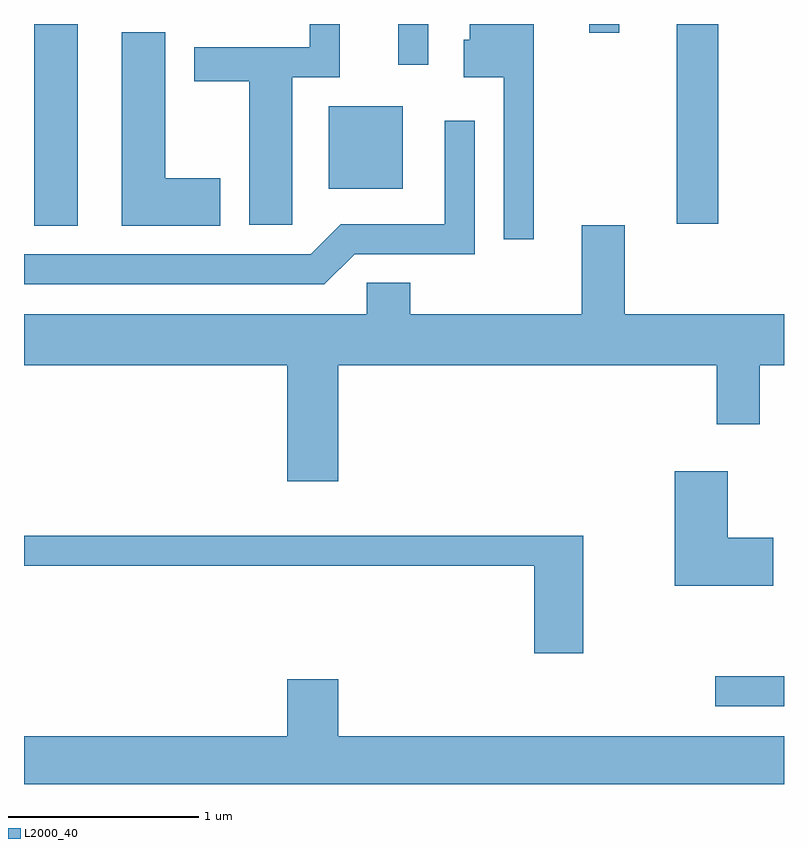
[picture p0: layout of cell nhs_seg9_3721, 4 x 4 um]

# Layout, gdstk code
import gdstk
lib = gdstk.Library(unit=1e-6, precision=1e-09)
def R(c, l, rs):  # rectangles x0, y0, x1, y1
    for r in rs: c.add(gdstk.rectangle(r[:2], r[2:], *l))
def P(c, l, *ps):  # polygons
    for p in ps: c.add(gdstk.Polygon(p, *l))
L2000_40 = (2000, 40)

nhs_seg9_3721 = lib.new_cell('nhs_seg9_3721')
R(nhs_seg9_3721, L2000_40, [(297.248,2058.841,297.611,2058.999), (293.666,2061.371,293.894,2062.432), (297.046,2061.381,297.264,2062.432), (295.216,2061.566,295.604,2061.999), (295.581,2062.218,295.739,2062.432), (296.586,2062.387,296.744,2062.432)])
P(nhs_seg9_3721, L2000_40, [(295.024,2062.151),(295.274,2062.151),(295.274,2062.432),(295.116,2062.432),(295.116,2062.309),(294.506,2062.309),(294.506,2062.131),(294.796,2062.131),(294.796,2061.376),(295.024,2061.376)],
  [(296.294,2062.432),(295.956,2062.432),(295.956,2062.349),(295.926,2062.349),(295.926,2062.151),(296.136,2062.151),(296.136,2061.298),(296.294,2061.298)],
  [(294.644,2061.619),(294.354,2061.619),(294.354,2062.389),(294.126,2062.389),(294.126,2061.371),(294.644,2061.371)],
  [(295.352,2061.221),(295.984,2061.221),(295.984,2061.923),(295.826,2061.923),(295.826,2061.379),(295.279,2061.379),(295.119,2061.219),(293.611,2061.219),(293.611,2061.061),(295.192,2061.061)],
  [(295.264,2060.636),(297.256,2060.636),(297.256,2060.326),(297.484,2060.326),(297.484,2060.636),(297.611,2060.636),(297.611,2060.904),(296.774,2060.904),(296.774,2061.374),(296.546,2061.374),(296.546,2060.904),(295.644,2060.904),(295.644,2061.069),(295.416,2061.069),(295.416,2060.904),(293.611,2060.904),(293.611,2060.636),(294.996,2060.636),(294.996,2060.026),(295.264,2060.026)],
  [(297.554,2059.729),(297.314,2059.729),(297.314,2060.079),(297.036,2060.079),(297.036,2059.476),(297.554,2059.476)],
  [(296.554,2059.739),(293.611,2059.739),(293.611,2059.581),(296.296,2059.581),(296.296,2059.121),(296.554,2059.121)],
  [(297.611,2058.684),(295.264,2058.684),(295.264,2058.984),(294.996,2058.984),(294.996,2058.684),(293.611,2058.684),(293.611,2058.432),(297.611,2058.432)])

lib.write_gds('nhs_seg9_3721.gds')
